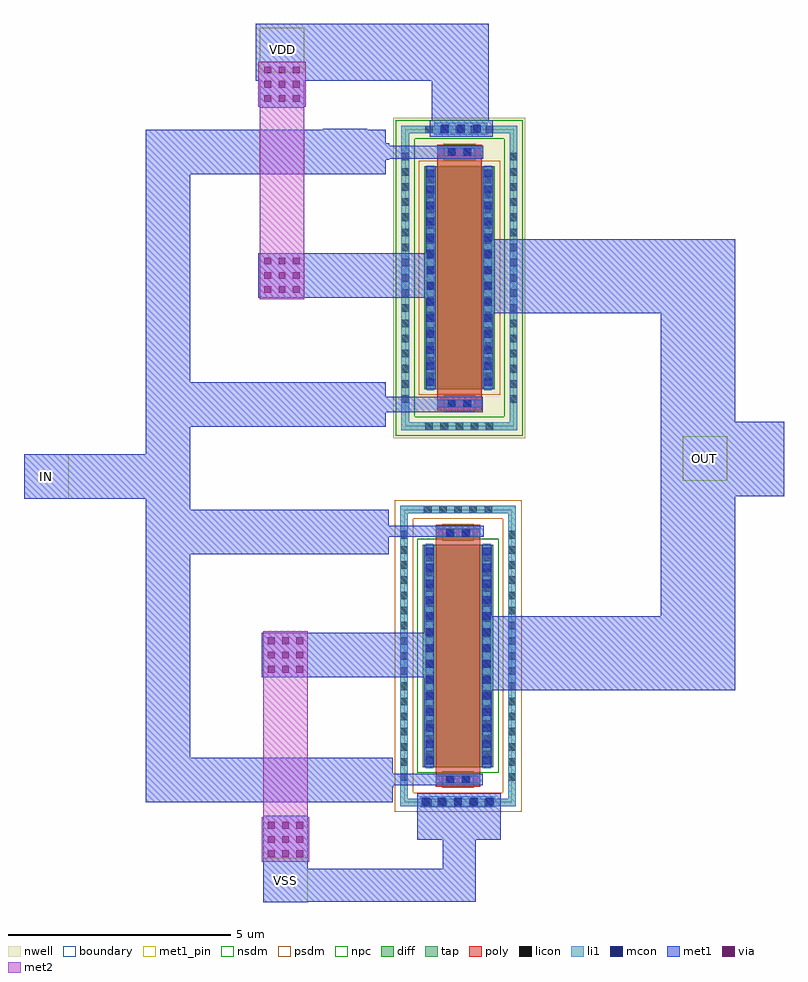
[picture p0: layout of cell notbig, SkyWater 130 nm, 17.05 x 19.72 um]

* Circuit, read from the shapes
.subckt notbig IN OUT VDD VSS
XM1 OUT IN VSS VSS sky130_fd_pr__nfet_01v8 w=5 l=1
XM2 OUT IN VDD VDD sky130_fd_pr__pfet_01v8 w=5 l=1
.ends

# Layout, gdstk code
import gdstk
lib = gdstk.Library(unit=1e-6, precision=1e-09)
def R(c, l, rs):  # rectangles x0, y0, x1, y1
    for r in rs: c.add(gdstk.rectangle(r[:2], r[2:], *l))
def A(c, l, x, y, w, h, nx, ny, dx, dy):  # array of equal rectangles
    R(c, l, [(x+i*dx, y+j*dy, x+i*dx+w, y+j*dy+h) for i in range(nx) for j in range(ny)])
nwell = (64, 20)
diff = (65, 20)
tap = (65, 44)
poly = (66, 20)
licon = (66, 44)
li1 = (67, 20)
mcon = (67, 44)
met1_pin = (68, 16)
met1 = (68, 20)
via = (68, 44)
met2 = (69, 20)
nsdm = (93, 44)
psdm = (94, 20)
npc = (95, 20)
boundary = (235, 4)

sky130_fd_pr__pfet_01v8_ = lib.new_cell('sky130_fd_pr__pfet_01v8_3HZ9VM')
R(sky130_fd_pr__pfet_01v8_, nwell, [(-1.48,-3.595,1.48,3.595)])
R(sky130_fd_pr__pfet_01v8_, diff, [(-0.79,-2.5,0.79,2.5)])
R(sky130_fd_pr__pfet_01v8_, tap, [(-1.3,-3.415,1.3,-3.245), (-1.3,-3.245,-1.13,3.245), (1.13,-3.245,1.3,3.245), (-1.3,3.245,1.3,3.415)])
R(sky130_fd_pr__pfet_01v8_, poly, [(-0.5,-2.985,0.5,2.985)])
A(sky130_fd_pr__pfet_01v8_, licon, -0.765, -3.415, 0.17, 0.17, 5, 2, 0.34, 6.66)
A(sky130_fd_pr__pfet_01v8_, licon, -1.3, -2.805, 0.17, 0.17, 1, 17, 0, 0.34)
A(sky130_fd_pr__pfet_01v8_, licon, 1.13, -2.805, 0.17, 0.17, 1, 17, 0, 0.34)
A(sky130_fd_pr__pfet_01v8_, licon, -0.73, -2.295, 0.17, 0.17, 1, 14, 0, 0.34)
A(sky130_fd_pr__pfet_01v8_, licon, 0.56, -2.295, 0.17, 0.17, 1, 14, 0, 0.34)
R(sky130_fd_pr__pfet_01v8_, licon, [(-0.255,-2.905,-0.085,-2.735), (0.085,-2.905,0.255,-2.735), (-0.255,2.735,-0.085,2.905), (0.085,2.735,0.255,2.905)])
R(sky130_fd_pr__pfet_01v8_, li1, [(-1.3,-3.415,1.3,-3.245), (-1.3,-3.245,-1.13,3.245), (1.13,-3.245,1.3,3.245), (-0.5,-2.905,0.5,-2.735), (-0.73,-2.52,-0.56,2.52), (0.56,-2.52,0.73,2.52), (-0.5,2.735,0.5,2.905), (-1.3,3.245,1.3,3.415)])
A(sky130_fd_pr__pfet_01v8_, mcon, -0.73, -2.425, 0.17, 0.17, 1, 14, 0, 0.36)
A(sky130_fd_pr__pfet_01v8_, mcon, 0.56, -2.425, 0.17, 0.17, 1, 14, 0, 0.36)
R(sky130_fd_pr__pfet_01v8_, mcon, [(-0.265,-2.905,-0.095,-2.735), (0.095,-2.905,0.265,-2.735), (-0.265,2.735,-0.095,2.905), (0.095,2.735,0.265,2.905)])
R(sky130_fd_pr__pfet_01v8_, met1, [(-0.48,-2.935,0.48,-2.705), (-0.76,-2.5,-0.53,2.5), (0.53,-2.5,0.76,2.5), (-0.48,2.705,0.48,2.935)])
R(sky130_fd_pr__pfet_01v8_, nsdm, [(-1.425,-3.54,1.425,-3.12), (-1.425,-3.12,-1.005,3.12), (1.005,-3.12,1.425,3.12), (-1.425,3.12,1.425,3.54)])
R(sky130_fd_pr__pfet_01v8_, psdm, [(-0.915,-2.625,0.915,2.625)])
R(sky130_fd_pr__pfet_01v8_, npc, [(-0.355,-3.005,0.355,-2.635), (-0.355,2.635,0.355,3.005)])
R(sky130_fd_pr__pfet_01v8_, boundary, [(-1.215,-3.33,1.215,3.33)])

sky130_fd_pr__nfet_01v8_ = lib.new_cell('sky130_fd_pr__nfet_01v8_MMMA4V')
R(sky130_fd_pr__nfet_01v8_, diff, [(-0.79,-2.5,0.79,2.5)])
R(sky130_fd_pr__nfet_01v8_, tap, [(-1.3,-3.37,1.3,-3.2), (-1.3,-3.2,-1.13,3.2), (1.13,-3.2,1.3,3.2), (-1.3,3.2,1.3,3.37)])
R(sky130_fd_pr__nfet_01v8_, poly, [(-0.5,-2.94,0.5,2.94)])
A(sky130_fd_pr__nfet_01v8_, licon, -0.765, -3.37, 0.17, 0.17, 5, 2, 0.34, 6.57)
A(sky130_fd_pr__nfet_01v8_, licon, -1.3, -2.805, 0.17, 0.17, 1, 17, 0, 0.34)
A(sky130_fd_pr__nfet_01v8_, licon, 1.13, -2.805, 0.17, 0.17, 1, 17, 0, 0.34)
A(sky130_fd_pr__nfet_01v8_, licon, -0.73, -2.295, 0.17, 0.17, 1, 14, 0, 0.34)
A(sky130_fd_pr__nfet_01v8_, licon, 0.56, -2.295, 0.17, 0.17, 1, 14, 0, 0.34)
R(sky130_fd_pr__nfet_01v8_, licon, [(-0.255,-2.86,-0.085,-2.69), (0.085,-2.86,0.255,-2.69), (-0.255,2.69,-0.085,2.86), (0.085,2.69,0.255,2.86)])
R(sky130_fd_pr__nfet_01v8_, li1, [(-1.3,-3.37,1.3,-3.2), (-1.3,-3.2,-1.13,3.2), (1.13,-3.2,1.3,3.2), (-0.5,-2.86,0.5,-2.69), (-0.73,-2.52,-0.56,2.52), (0.56,-2.52,0.73,2.52), (-0.5,2.69,0.5,2.86), (-1.3,3.2,1.3,3.37)])
A(sky130_fd_pr__nfet_01v8_, mcon, -0.73, -2.425, 0.17, 0.17, 1, 14, 0, 0.36)
A(sky130_fd_pr__nfet_01v8_, mcon, 0.56, -2.425, 0.17, 0.17, 1, 14, 0, 0.36)
R(sky130_fd_pr__nfet_01v8_, mcon, [(-0.265,-2.86,-0.095,-2.69), (0.095,-2.86,0.265,-2.69), (-0.265,2.69,-0.095,2.86), (0.095,2.69,0.265,2.86)])
R(sky130_fd_pr__nfet_01v8_, met1, [(-0.48,-2.89,0.48,-2.66), (-0.76,-2.5,-0.53,2.5), (0.53,-2.5,0.76,2.5), (-0.48,2.66,0.48,2.89)])
R(sky130_fd_pr__nfet_01v8_, nsdm, [(-0.915,-2.625,0.915,2.625)])
R(sky130_fd_pr__nfet_01v8_, psdm, [(-1.425,-3.495,1.425,-3.075), (-1.425,-3.075,-1.005,3.075), (1.005,-3.075,1.425,3.075), (-1.425,3.075,1.425,3.495)])
R(sky130_fd_pr__nfet_01v8_, npc, [(-0.355,-2.96,0.355,-2.59), (-0.355,2.59,0.355,2.96)])
R(sky130_fd_pr__nfet_01v8_, boundary, [(-1.21,-3.28,1.21,3.28)])

notbig = lib.new_cell('notbig')
R(notbig, li1, [(5.48,-6.89,7.17,-6.65), (5.8,8.2,6.99,8.46)])
A(notbig, mcon, 5.52, -6.855, 0.17, 0.17, 5, 1, 0.36, 0)
A(notbig, mcon, 5.95, 8.245, 0.17, 0.17, 3, 1, 0.36, 0)
R(notbig, met1_pin, [(1.96,-9.03,2.96,-8.03), (-3.41,0.03,-2.41,1.03), (11.37,0.43,12.37,1.43), (1.88,9.6,2.88,10.6)])
R(notbig, met1, [(1.96,-9.03,2.96,-9.02), (1.96,-9.02,6.73,-8.28), (1.96,-8.28,2.96,-7.09), (5.99,-8.28,6.73,-7.63), (5.41,-7.63,7.29,-6.58), (-0.68,-6.78,4.86,-6.46), (-0.68,-6.46,4.88,-6.4), (-0.68,-6.4,6.88,-6.14), (-0.68,-6.14,4.86,-5.78), (-0.68,-5.78,0.32,-1.22), (6.945,-4.275,12.55,-2.605), (1.93,-3.98,5.77,-2.98), (10.88,-2.605,12.55,0.085), (-0.68,-1.22,4.78,-0.82), (-0.68,-0.82,6.91,-0.58), (-0.68,-0.58,4.78,-0.22), (-0.68,-0.22,0.32,0.03), (-3.41,0.03,0.32,1.03), (10.88,0.085,13.645,1.755), (-0.68,1.03,0.32,1.64), (-0.68,1.64,4.71,1.97), (10.88,1.755,12.55,4.185), (-0.68,1.97,6.89,2.32), (-0.68,2.32,4.71,2.64), (-0.68,2.64,0.32,7.31), (7.025,4.185,12.55,5.855), (1.85,4.54,5.77,5.54), (-0.68,7.31,4.71,7.63), (-0.68,7.63,4.79,7.66), (-0.68,7.66,6.9,7.95), (-0.68,7.95,4.79,8), (-0.68,8,4.71,8.31), (5.69,8.15,7.11,8.52), (3.29,8.31,4.29,8.33), (5.74,8.52,7.02,9.41), (1.88,8.8,2.88,9.41), (1.79,9.41,7.02,10.69)])
A(notbig, via, 2.065, -8.015, 0.15, 0.15, 3, 3, 0.32, 0.32)
A(notbig, via, 2.065, -3.875, 0.15, 0.15, 3, 3, 0.32, 0.32)
A(notbig, via, 1.985, 4.645, 0.15, 0.15, 3, 3, 0.32, 0.32)
A(notbig, via, 1.985, 8.935, 0.15, 0.15, 3, 3, 0.32, 0.32)
R(notbig, met2, [(1.93,-8.12,2.99,-7.12), (1.96,-7.12,2.96,-2.95), (1.88,4.51,2.88,8.83), (1.85,8.83,2.91,9.83)])
notbig.add(gdstk.Reference(sky130_fd_pr__pfet_01v8_, (6.36,4.985)))
notbig.add(gdstk.Reference(sky130_fd_pr__nfet_01v8_, (6.33,-3.5)))
notbig.add(gdstk.Label('VDD', (2.38,10.1), layer=68, texttype=5))
notbig.add(gdstk.Label('VSS', (2.46,-8.53), layer=68, texttype=5))
notbig.add(gdstk.Label('IN', (-2.91,0.53), layer=68, texttype=5))
notbig.add(gdstk.Label('OUT', (11.87,0.93), layer=68, texttype=5))

lib.write_gds('notbig.gds')
